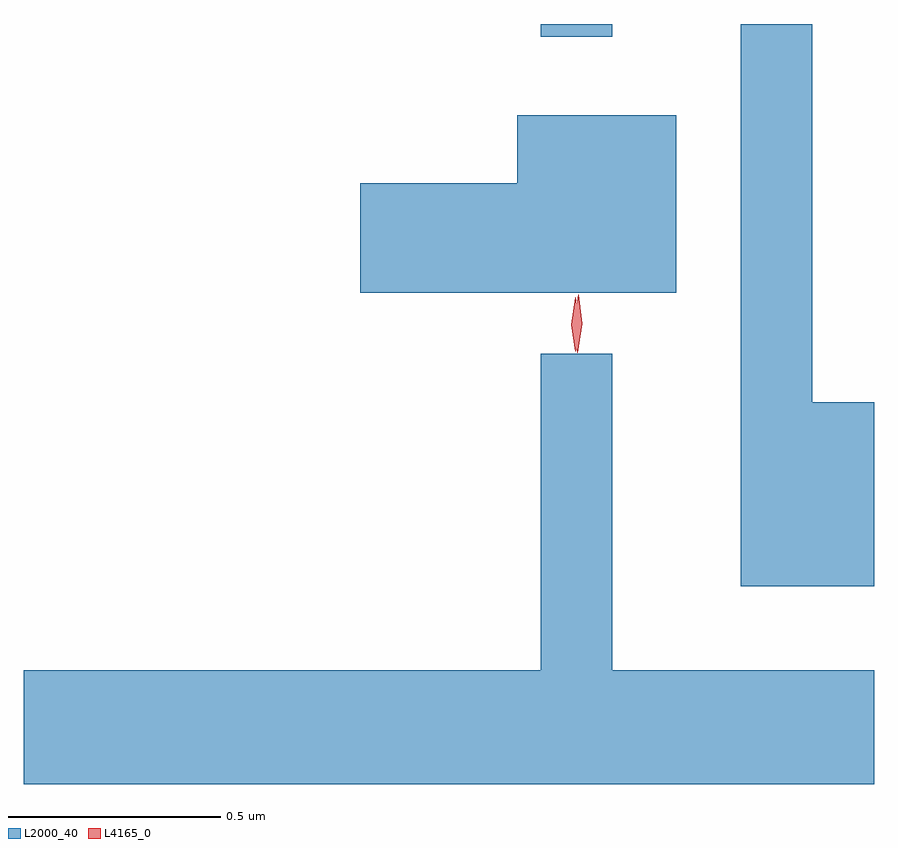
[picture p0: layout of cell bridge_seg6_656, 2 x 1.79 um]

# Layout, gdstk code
import gdstk
lib = gdstk.Library(unit=1e-6, precision=1e-09)
def R(c, l, rs):  # rectangles x0, y0, x1, y1
    for r in rs: c.add(gdstk.rectangle(r[:2], r[2:], *l))
def P(c, l, *ps):  # polygons
    for p in ps: c.add(gdstk.Polygon(p, *l))
L2000_40 = (2000, 40)
L4165_0 = (4165, 0)

bridge_seg6_656 = lib.new_cell('bridge_seg6_656')
R(bridge_seg6_656, L2000_40, [(200.921,1609.513,201.089,1609.543)])
P(bridge_seg6_656, L2000_40, [(201.705,1608.654),(201.559,1608.654),(201.559,1609.543),(201.391,1609.543),(201.391,1608.221),(201.705,1608.221)],
  [(201.239,1609.329),(200.866,1609.329),(200.866,1609.169),(200.496,1609.169),(200.496,1608.911),(201.239,1608.911)],
  [(201.705,1608.024),(201.089,1608.024),(201.089,1608.768),(200.921,1608.768),(200.921,1608.024),(199.705,1608.024),(199.705,1607.756),(201.705,1607.756)])
P(bridge_seg6_656, L4165_0, [(201.007,1608.77),(200.999,1608.838),(201.009,1608.906),(201.009,1608.906),(201.01,1608.906),(201.018,1608.838),(201.008,1608.77),(201.008,1608.77)],
  [(201.002,1608.773),(201.002,1608.773),(200.992,1608.836),(201.002,1608.899),(201.002,1608.9),(201.003,1608.899),(201.012,1608.836),(201.003,1608.773)])

lib.write_gds('bridge_seg6_656.gds')
